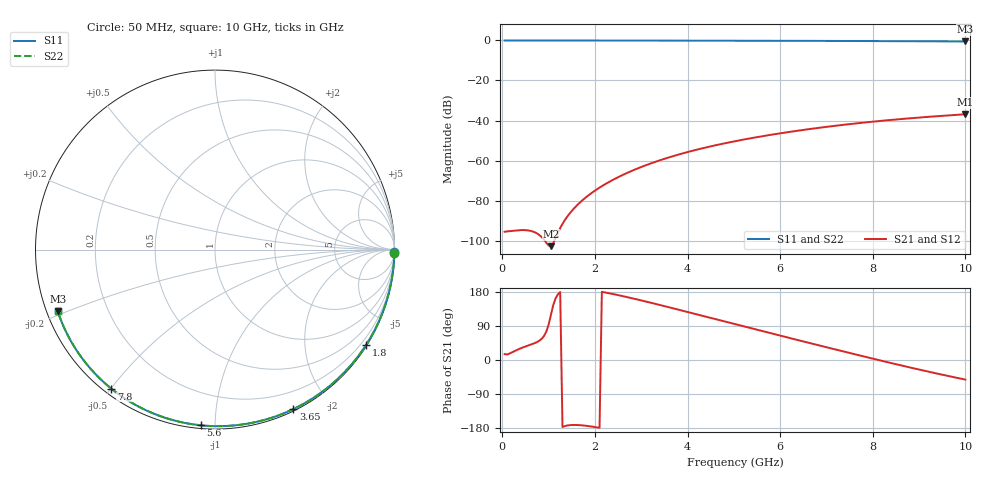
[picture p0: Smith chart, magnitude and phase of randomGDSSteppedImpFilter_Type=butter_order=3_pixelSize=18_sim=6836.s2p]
! freq	dB(S11)	phase(S11)	dB(S12)	phase(S12)
!  dB(S21)	phase(S21)	dB(S22)	phase(S22)
!S-par simulation data
#  GHz  S  DB  R 50
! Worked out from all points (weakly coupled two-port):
!   200 points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, 50 MHz to 10 GHz, reference 50 ohm
!   highest |S21| = -36.88 dB at 10 GHz (marker M1); lowest = -102.8 dB at 1.05 GHz (marker M2)
!   lowest |S11| = -0.5 dB at 10 GHz (marker M3), VSWR 33.17, Z = 1.56 - j9.48 ohm
!   |S11| at or under -10 dB: nowhere
!   |S22| runs from -0.5 to 0.0 dB; largest |S21 - S12| = 0
!   S11 on the Smith chart (normalised r, x): 50 MHz: open; 1.8 GHz: 0.03, -3.44; 3.65 GHz: 0.02, -1.60; 5.6 GHz: 0.02, -0.92; 7.8 GHz: 0.02, -0.50; 10 GHz: 0.03, -0.19
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0.05  -0.01 -0.9  -95.60 15.7  -95.60 15.7  -0.00 -0.9
0.55  -0.01 -10.0  -94.89 37.8  -94.89 37.8  -0.01 -10.0
1.05  -0.02 -19.1  -102.79 118.8  -102.79 118.8  -0.02 -19.1
1.7  -0.04 -30.6  -80.47 -172.2  -80.47 -172.2  -0.04 -30.6
1.75  -0.04 -31.5  -79.46 -172.8  -79.46 -172.8  -0.04 -31.5
1.8  -0.04 -32.4  -78.50 -173.4  -78.50 -173.4  -0.04 -32.4
2.1  -0.05 -37.6  -73.53 -179.0  -73.53 -179.0  -0.05 -37.6
2.3  -0.05 -41.1  -70.77 176.4  -70.77 176.4  -0.05 -41.1
2.5  -0.06 -44.6  -68.33 171.3  -68.33 171.3  -0.06 -44.6
2.9  -0.07 -51.4  -64.15 160.2  -64.15 160.2  -0.07 -51.4
3.4  -0.08 -59.8  -59.90 145.3  -59.90 145.3  -0.08 -59.8
3.65  -0.09 -63.9  -58.07 137.6  -58.07 137.6  -0.09 -63.9
4.3  -0.11 -74.4  -54.00 117.3  -54.00 117.3  -0.11 -74.4
5.05  -0.13 -86.2  -50.23 93.8  -50.23 93.8  -0.13 -86.2
5.6  -0.16 -94.6  -47.91 76.7  -47.91 76.7  -0.16 -94.6
6.15  -0.18 -102.8  -45.88 59.7  -45.88 59.7  -0.18 -102.8
6.7  -0.22 -110.9  -44.07 42.8  -44.07 42.8  -0.22 -110.9
7.25  -0.25 -118.9  -42.47 26.1  -42.47 26.1  -0.25 -118.9
7.8  -0.30 -126.8  -41.05 9.5  -41.05 9.5  -0.30 -126.8
8.35  -0.35 -134.6  -39.80 -6.7  -39.80 -6.7  -0.35 -134.6
9.2  -0.43 -146.8  -38.17 -30.7  -38.17 -30.7  -0.43 -146.8
10  -0.52 -158.5  -36.88 -51.7  -36.88 -51.7  -0.52 -158.5
